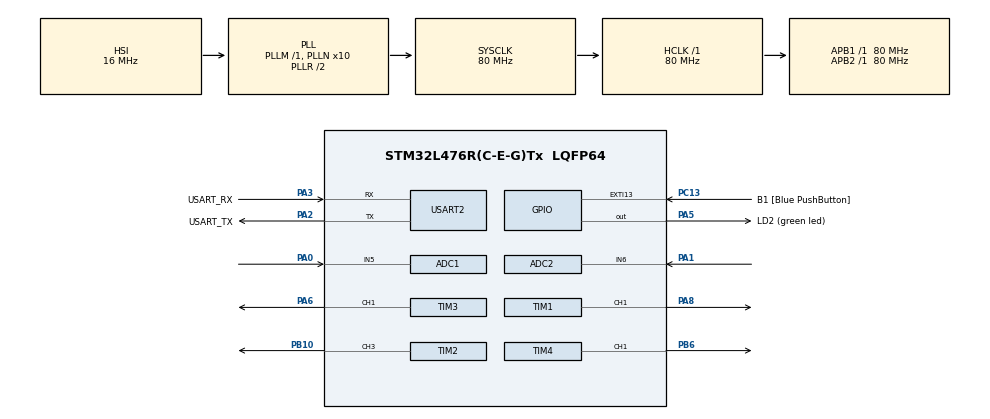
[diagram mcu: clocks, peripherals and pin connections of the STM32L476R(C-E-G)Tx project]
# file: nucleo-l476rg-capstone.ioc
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ADC1.Channel-0\#ChannelRegularConversion=ADC_CHANNEL_5
ADC1.ContinuousConvMode=ENABLE
ADC1.DMAContinuousRequests=ENABLE
ADC1.NbrOfConversionFlag=1
ADC1.OffsetNumber-0\#ChannelRegularConversion=ADC_OFFSET_NONE
ADC1.Rank-0\#ChannelRegularConversion=1
ADC1.SamplingTime-0\#ChannelRegularConversion=ADC_SAMPLETIME_2CYCLES_5
ADC1.master=1
ADC2.Channel-1\#ChannelRegularConversion=ADC_CHANNEL_6
ADC2.ContinuousConvMode=ENABLE
ADC2.DMAContinuousRequests=ENABLE
ADC2.NbrOfConversionFlag=1
ADC2.OffsetNumber-1\#ChannelRegularConversion=ADC_OFFSET_NONE
ADC2.Rank-1\#ChannelRegularConversion=1
ADC2.SamplingTime-1\#ChannelRegularConversion=ADC_SAMPLETIME_2CYCLES_5
DAC1.DAC_Channel-DAC_OUT2_Int=DAC_CHANNEL_2
Dma.ADC1.1.Direction=DMA_PERIPH_TO_MEMORY
Dma.ADC1.1.Instance=DMA1_Channel1
Dma.ADC1.1.MemDataAlignment=DMA_MDATAALIGN_HALFWORD
Dma.ADC1.1.MemInc=DMA_MINC_ENABLE
Dma.ADC1.1.Mode=DMA_CIRCULAR
Dma.ADC1.1.PeriphDataAlignment=DMA_PDATAALIGN_HALFWORD
Dma.ADC1.1.PeriphInc=DMA_PINC_DISABLE
Dma.ADC1.1.Priority=DMA_PRIORITY_LOW
Dma.ADC2.2.Direction=DMA_PERIPH_TO_MEMORY
Dma.ADC2.2.Instance=DMA1_Channel2
Dma.ADC2.2.MemDataAlignment=DMA_MDATAALIGN_HALFWORD
Dma.ADC2.2.MemInc=DMA_MINC_ENABLE
Dma.ADC2.2.Mode=DMA_CIRCULAR
Dma.ADC2.2.PeriphDataAlignment=DMA_PDATAALIGN_HALFWORD
Dma.ADC2.2.PeriphInc=DMA_PINC_DISABLE
Dma.ADC2.2.Priority=DMA_PRIORITY_LOW
Dma.Request0=USART2_RX
Dma.Request1=ADC1
Dma.Request2=ADC2
Dma.USART2_RX.0.Direction=DMA_PERIPH_TO_MEMORY
Dma.USART2_RX.0.Instance=DMA1_Channel6
Dma.USART2_RX.0.MemDataAlignment=DMA_MDATAALIGN_BYTE
Dma.USART2_RX.0.MemInc=DMA_MINC_ENABLE
Dma.USART2_RX.0.Mode=DMA_CIRCULAR
Dma.USART2_RX.0.PeriphDataAlignment=DMA_PDATAALIGN_BYTE
Dma.USART2_RX.0.PeriphInc=DMA_PINC_DISABLE
Dma.USART2_RX.0.Priority=DMA_PRIORITY_LOW
Mcu.Family=STM32L4
Mcu.Name=STM32L476R(C-E-G)Tx
Mcu.Package=LQFP64
NVIC.DMA1_Channel1_IRQn=true\:0\:0\:false\:false\:true\:false\:true
NVIC.DMA1_Channel2_IRQn=true\:0\:0\:false\:false\:true\:false\:true
NVIC.DMA1_Channel6_IRQn=true\:0\:0\:false\:false\:true\:false\:true
NVIC.PriorityGroup=NVIC_PRIORITYGROUP_4
NVIC.USART2_IRQn=true\:0\:0\:false\:false\:true\:true\:true
PA0.Signal=ADCx_IN5
PA1.Signal=ADCx_IN6
PA13\ (JTMS-SWDIO).GPIO_Label=TMS
PA13\ (JTMS-SWDIO).Mode=Serial_Wire
PA13\ (JTMS-SWDIO).Signal=SYS_JTMS-SWDIO
PA14\ (JTCK-SWCLK).GPIO_Label=TCK
PA14\ (JTCK-SWCLK).Mode=Serial_Wire
PA14\ (JTCK-SWCLK).Signal=SYS_JTCK-SWCLK
PA2.GPIO_Label=USART_TX
PA2.GPIO_Mode=GPIO_MODE_AF_PP
PA2.GPIO_PuPd=GPIO_NOPULL
PA2.GPIO_Speed=GPIO_SPEED_FREQ_VERY_HIGH
PA2.Mode=Asynchronous
PA2.Signal=USART2_TX
PA3.GPIO_Label=USART_RX
PA3.GPIO_Mode=GPIO_MODE_AF_PP
PA3.GPIO_PuPd=GPIO_NOPULL
PA3.GPIO_Speed=GPIO_SPEED_FREQ_VERY_HIGH
PA3.Mode=Asynchronous
PA3.Signal=USART2_RX
PA5.GPIO_Label=LD2 (green led)
PA5.Signal=GPIO_Output
PA6.Signal=S_TIM3_CH1
PA8.Signal=S_TIM1_CH1
PB10.Signal=S_TIM2_CH3
PB3\ (JTDO-TRACESWO).GPIO_Label=SWO
PB3\ (JTDO-TRACESWO).Signal=SYS_JTDO-SWO
PB6.Signal=S_TIM4_CH1
PC13.GPIO_Label=B1 [Blue PushButton]
PC13.GPIO_ModeDefaultEXTI=GPIO_MODE_IT_FALLING
PC13.GPIO_PuPd=GPIO_NOPULL
PC13.Signal=GPXTI13
PC14-OSC32_IN\ (PC14).Mode=LSE-External-Oscillator
PC14-OSC32_IN\ (PC14).Signal=RCC_OSC32_IN
PC15-OSC32_OUT\ (PC15).Mode=LSE-External-Oscillator
PC15-OSC32_OUT\ (PC15).Signal=RCC_OSC32_OUT
PH0-OSC_IN\ (PH0).Signal=RCC_OSC_IN
PH1-OSC_OUT\ (PH1).Signal=RCC_OSC_OUT
ProjectManager.HeapSize=0x200
ProjectManager.StackSize=0x400
ProjectManager.TargetToolchain=STM32CubeIDE
RCC.ADCFreq_Value=64000000
RCC.AHBFreq_Value=80000000
RCC.APB1Freq_Value=80000000
RCC.APB1TimFreq_Value=80000000
RCC.APB2Freq_Value=80000000
RCC.APB2TimFreq_Value=80000000
RCC.CortexFreq_Value=80000000
RCC.HCLKFreq_Value=80000000
RCC.HSE_VALUE=8000000
RCC.HSI_VALUE=16000000
RCC.MSI_VALUE=4000000
RCC.PLLN=10
RCC.PLLSourceVirtual=RCC_PLLSOURCE_HSI
RCC.PREFETCH_ENABLE=1
RCC.SYSCLKFreq_VALUE=80000000
RCC.SYSCLKSource=RCC_SYSCLKSOURCE_PLLCLK
RCC.USBFreq_Value=64000000
RCC.VCOOutputFreq_Value=160000000
SH.ADCx_IN5.0=ADC1_IN5,IN5-Single-Ended
SH.ADCx_IN6.0=ADC2_IN6,IN6-Single-Ended
SH.S_TIM1_CH1.0=TIM1_CH1,PWM Generation1 CH1
SH.S_TIM2_CH3.0=TIM2_CH3,PWM Generation3 CH3
SH.S_TIM3_CH1.0=TIM3_CH1,PWM Generation1 CH1
SH.S_TIM4_CH1.0=TIM4_CH1,PWM Generation1 CH1
TIM1.Channel-PWM\ Generation1\ CH1=TIM_CHANNEL_1
TIM2.Channel-PWM\ Generation3\ CH3=TIM_CHANNEL_3
TIM3.Channel-PWM\ Generation1\ CH1=TIM_CHANNEL_1
TIM4.Channel-PWM\ Generation1\ CH1=TIM_CHANNEL_1
USART2.VirtualMode-Asynchronous=VM_ASYNC
VP_DAC1_VS_DACI1.Mode=DAC_OUT1_Int
VP_DAC1_VS_DACI2.Mode=DAC_OUT2_Int
board=NUCLEO-L476RG

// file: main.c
/* USER CODE BEGIN Header */
/**
  ******************************************************************************
  * @file           : main.c
  * @brief          : Main program body
  ******************************************************************************
  * @attention
  *
  * <h2><center>&copy; Copyright (c) 2020 STMicroelectronics.
  * All rights reserved.</center></h2>
  *
  * This software component is licensed by ST under BSD 3-Clause license,
  * the "License"; You may not use this file except in compliance with the
  * License. You may obtain a copy of the License at:
  *                        opensource.org/licenses/BSD-3-Clause
  *
  ******************************************************************************
  */
/* USER CODE END Header */
#include "main.h"

/* USER CODE BEGIN PTD */
typedef enum { false, true } bool; // for flags
/* USER CODE END PTD */

/* USER CODE BEGIN PD */
#define ADC_BUF_LEN 4096
/* USER CODE END PD */

ADC_HandleTypeDef hadc1;
ADC_HandleTypeDef hadc2;
DMA_HandleTypeDef hdma_adc1;
DMA_HandleTypeDef hdma_adc2;

DAC_HandleTypeDef hdac1;

TIM_HandleTypeDef htim1;
TIM_HandleTypeDef htim2;
TIM_HandleTypeDef htim3;
TIM_HandleTypeDef htim4;

UART_HandleTypeDef huart2;
DMA_HandleTypeDef hdma_usart2_rx;

/* USER CODE BEGIN PV */
uint8_t TOGGLE_RUN[1] = "s";
uint8_t ACK[2] = "a\n";

uint16_t adc1_buf[ADC_BUF_LEN];
uint16_t adc2_buf[ADC_BUF_LEN];
/* USER CODE END PV */

void SystemClock_Config(void);
static void MX_GPIO_Init(void);
static void MX_DMA_Init(void);
static void MX_USART2_UART_Init(void);
static void MX_DAC1_Init(void);
static void MX_TIM1_Init(void);
static void MX_TIM2_Init(void);
static void MX_TIM3_Init(void);
static void MX_TIM4_Init(void);
static void MX_ADC1_Init(void);
static void MX_ADC2_Init(void);
/* USER CODE BEGIN PFP */
void awaitStart(void);
void singleAxisTest(void);
void dualAxisTest(void);

/* USER CODE END PFP */

/* USER CODE BEGIN 0 */
// uint8_t myTxData[13] = "begin";
bool doTest = false;
uint32_t numAxes = 0;

/* USER CODE END 0 */

int main(void)
{

  /* MCU Configuration--------------------------------------------------------*/

  /* Reset of all peripherals, Initializes the Flash interface and the Systick. */
  HAL_Init();

  /* Configure the system clock */
  SystemClock_Config();

  /* Initialize all configured peripherals */
  MX_GPIO_Init();
  MX_DMA_Init();
  MX_USART2_UART_Init();
  MX_DAC1_Init();
  MX_TIM1_Init();
  MX_TIM2_Init();
  MX_TIM3_Init();
  MX_TIM4_Init();
  MX_ADC1_Init();
  MX_ADC2_Init();

  /* Infinite loop */
  while (1)
  {
	  if (!doTest)
	  	  {
	  		  awaitStart();
	  	  }
	  	  else
	  	  {
	  		  switch(numAxes) {
	  		  case 1:
	  			  singleAxisTest();
	  			  break;
	  		  case 2:
	  			  // implement write/read logic for 2 axes
	  			  dualAxisTest();
	  			  break;
	  		  default:
	  			  HAL_UART_Transmit(&huart2, "numAxes error\n", 14, 10);
	  			  break;
	  		  }
	  	  }
  }
}

void SystemClock_Config(void)
{
  RCC_OscInitTypeDef RCC_OscInitStruct = {0};
  RCC_ClkInitTypeDef RCC_ClkInitStruct = {0};
  RCC_PeriphCLKInitTypeDef PeriphClkInit = {0};

  /** Initializes the RCC Oscillators according to the specified parameters
  * in the RCC_OscInitTypeDef structure.
  */
  RCC_OscInitStruct.OscillatorType = RCC_OSCILLATORTYPE_HSI;
  RCC_OscInitStruct.HSIState = RCC_HSI_ON;
  RCC_OscInitStruct.HSICalibrationValue = RCC_HSICALIBRATION_DEFAULT;
  RCC_OscInitStruct.PLL.PLLState = RCC_PLL_ON;
  RCC_OscInitStruct.PLL.PLLSource = RCC_PLLSOURCE_HSI;
  RCC_OscInitStruct.PLL.PLLM = 1;
  RCC_OscInitStruct.PLL.PLLN = 10;
  RCC_OscInitStruct.PLL.PLLP = RCC_PLLP_DIV7;
  RCC_OscInitStruct.PLL.PLLQ = RCC_PLLQ_DIV2;
  RCC_OscInitStruct.PLL.PLLR = RCC_PLLR_DIV2;
  if (HAL_RCC_OscConfig(&RCC_OscInitStruct) != HAL_OK)
  {
    Error_Handler();
  }
  /** Initializes the CPU, AHB and APB buses clocks
  */
  RCC_ClkInitStruct.ClockType = RCC_CLOCKTYPE_HCLK|RCC_CLOCKTYPE_SYSCLK
                              |RCC_CLOCKTYPE_PCLK1|RCC_CLOCKTYPE_PCLK2;
  RCC_ClkInitStruct.SYSCLKSource = RCC_SYSCLKSOURCE_PLLCLK;
  RCC_ClkInitStruct.AHBCLKDivider = RCC_SYSCLK_DIV1;
  RCC_ClkInitStruct.APB1CLKDivider = RCC_HCLK_DIV1;
  RCC_ClkInitStruct.APB2CLKDivider = RCC_HCLK_DIV1;

  if (HAL_RCC_ClockConfig(&RCC_ClkInitStruct, FLASH_LATENCY_4) != HAL_OK)
  {
    Error_Handler();
  }
  PeriphClkInit.PeriphClockSelection = RCC_PERIPHCLK_USART2|RCC_PERIPHCLK_ADC;
  PeriphClkInit.Usart2ClockSelection = RCC_USART2CLKSOURCE_PCLK1;
  PeriphClkInit.AdcClockSelection = RCC_ADCCLKSOURCE_PLLSAI1;
  PeriphClkInit.PLLSAI1.PLLSAI1Source = RCC_PLLSOURCE_HSI;
  PeriphClkInit.PLLSAI1.PLLSAI1M = 1;
  PeriphClkInit.PLLSAI1.PLLSAI1N = 8;
  PeriphClkInit.PLLSAI1.PLLSAI1P = RCC_PLLP_DIV7;
  PeriphClkInit.PLLSAI1.PLLSAI1Q = RCC_PLLQ_DIV2;
  PeriphClkInit.PLLSAI1.PLLSAI1R = RCC_PLLR_DIV2;
  PeriphClkInit.PLLSAI1.PLLSAI1ClockOut = RCC_PLLSAI1_ADC1CLK;
  if (HAL_RCCEx_PeriphCLKConfig(&PeriphClkInit) != HAL_OK)
  {
    Error_Handler();
  }
  /** Configure the main internal regulator output voltage
  */
  if (HAL_PWREx_ControlVoltageScaling(PWR_REGULATOR_VOLTAGE_SCALE1) != HAL_OK)
  {
    Error_Handler();
  }
}

static void MX_ADC1_Init(void)
{

  ADC_MultiModeTypeDef multimode = {0};
  ADC_ChannelConfTypeDef sConfig = {0};

  /** Common config
  */
  hadc1.Instance = ADC1;
  hadc1.Init.ClockPrescaler = ADC_CLOCK_ASYNC_DIV1;
  hadc1.Init.Resolution = ADC_RESOLUTION_12B;
  hadc1.Init.DataAlign = ADC_DATAALIGN_RIGHT;
  hadc1.Init.ScanConvMode = ADC_SCAN_DISABLE;
  hadc1.Init.EOCSelection = ADC_EOC_SINGLE_CONV;
  hadc1.Init.LowPowerAutoWait = DISABLE;
  hadc1.Init.ContinuousConvMode = ENABLE;
  hadc1.Init.NbrOfConversion = 1;
  hadc1.Init.DiscontinuousConvMode = DISABLE;
  hadc1.Init.ExternalTrigConv = ADC_SOFTWARE_START;
  hadc1.Init.ExternalTrigConvEdge = ADC_EXTERNALTRIGCONVEDGE_NONE;
  hadc1.Init.DMAContinuousRequests = ENABLE;
  hadc1.Init.Overrun = ADC_OVR_DATA_PRESERVED;
  hadc1.Init.OversamplingMode = DISABLE;
  if (HAL_ADC_Init(&hadc1) != HAL_OK)
  {
    Error_Handler();
  }
  /** Configure the ADC multi-mode
  */
  multimode.Mode = ADC_MODE_INDEPENDENT;
  if (HAL_ADCEx_MultiModeConfigChannel(&hadc1, &multimode) != HAL_OK)
  {
    Error_Handler();
  }
  /** Configure Regular Channel
  */
  sConfig.Channel = ADC_CHANNEL_5;
  sConfig.Rank = ADC_REGULAR_RANK_1;
  sConfig.SamplingTime = ADC_SAMPLETIME_2CYCLES_5;
  sConfig.SingleDiff = ADC_SINGLE_ENDED;
  sConfig.OffsetNumber = ADC_OFFSET_NONE;
  sConfig.Offset = 0;
  if (HAL_ADC_ConfigChannel(&hadc1, &sConfig) != HAL_OK)
  {
    Error_Handler();
  }

}

static void MX_ADC2_Init(void)
{

  ADC_ChannelConfTypeDef sConfig = {0};

  /** Common config
  */
  hadc2.Instance = ADC2;
  hadc2.Init.ClockPrescaler = ADC_CLOCK_ASYNC_DIV1;
  hadc2.Init.Resolution = ADC_RESOLUTION_12B;
  hadc2.Init.DataAlign = ADC_DATAALIGN_RIGHT;
  hadc2.Init.ScanConvMode = ADC_SCAN_DISABLE;
  hadc2.Init.EOCSelection = ADC_EOC_SINGLE_CONV;
  hadc2.Init.LowPowerAutoWait = DISABLE;
  hadc2.Init.ContinuousConvMode = ENABLE;
  hadc2.Init.NbrOfConversion = 1;
  hadc2.Init.DiscontinuousConvMode = DISABLE;
  hadc2.Init.ExternalTrigConv = ADC_SOFTWARE_START;
  hadc2.Init.ExternalTrigConvEdge = ADC_EXTERNALTRIGCONVEDGE_NONE;
  hadc2.Init.DMAContinuousRequests = ENABLE;
  hadc2.Init.Overrun = ADC_OVR_DATA_PRESERVED;
  hadc2.Init.OversamplingMode = DISABLE;
  if (HAL_ADC_Init(&hadc2) != HAL_OK)
  {
    Error_Handler();
  }
  /** Configure Regular Channel
  */
  sConfig.Channel = ADC_CHANNEL_6;
  sConfig.Rank = ADC_REGULAR_RANK_1;
  sConfig.SamplingTime = ADC_SAMPLETIME_2CYCLES_5;
  sConfig.SingleDiff = ADC_SINGLE_ENDED;
  sConfig.OffsetNumber = ADC_OFFSET_NONE;
  sConfig.Offset = 0;
  if (HAL_ADC_ConfigChannel(&hadc2, &sConfig) != HAL_OK)
  {
    Error_Handler();
  }

}

static void MX_DAC1_Init(void)
{

  DAC_ChannelConfTypeDef sConfig = {0};

  /** DAC Initialization
  */
  hdac1.Instance = DAC1;
  if (HAL_DAC_Init(&hdac1) != HAL_OK)
  {
    Error_Handler();
  }
  /** DAC channel OUT1 config
  */
  sConfig.DAC_SampleAndHold = DAC_SAMPLEANDHOLD_DISABLE;
  sConfig.DAC_Trigger = DAC_TRIGGER_NONE;
  sConfig.DAC_OutputBuffer = DAC_OUTPUTBUFFER_DISABLE;
  sConfig.DAC_ConnectOnChipPeripheral = DAC_CHIPCONNECT_ENABLE;
  sConfig.DAC_UserTrimming = DAC_TRIMMING_FACTORY;
  if (HAL_DAC_ConfigChannel(&hdac1, &sConfig, DAC_CHANNEL_1) != HAL_OK)
  {
    Error_Handler();
  }
  /** DAC channel OUT2 config
  */
  sConfig.DAC_ConnectOnChipPeripheral = DAC_CHIPCONNECT_ENABLE;
  if (HAL_DAC_ConfigChannel(&hdac1, &sConfig, DAC_CHANNEL_2) != HAL_OK)
  {
    Error_Handler();
  }

}

static void MX_TIM1_Init(void)
{

  TIM_MasterConfigTypeDef sMasterConfig = {0};
  TIM_OC_InitTypeDef sConfigOC = {0};
  TIM_BreakDeadTimeConfigTypeDef sBreakDeadTimeConfig = {0};

  htim1.Instance = TIM1;
  htim1.Init.Prescaler = 0;
  htim1.Init.CounterMode = TIM_COUNTERMODE_UP;
  htim1.Init.Period = 65535;
  htim1.Init.ClockDivision = TIM_CLOCKDIVISION_DIV1;
  htim1.Init.RepetitionCounter = 0;
  htim1.Init.AutoReloadPreload = TIM_AUTORELOAD_PRELOAD_DISABLE;
  if (HAL_TIM_PWM_Init(&htim1) != HAL_OK)
  {
    Error_Handler();
  }
  sMasterConfig.MasterOutputTrigger = TIM_TRGO_RESET;
  sMasterConfig.MasterOutputTrigger2 = TIM_TRGO2_RESET;
  sMasterConfig.MasterSlaveMode = TIM_MASTERSLAVEMODE_DISABLE;
  if (HAL_TIMEx_MasterConfigSynchronization(&htim1, &sMasterConfig) != HAL_OK)
  {
    Error_Handler();
  }
  sConfigOC.OCMode = TIM_OCMODE_PWM1;
  sConfigOC.Pulse = 0;
  sConfigOC.OCPolarity = TIM_OCPOLARITY_HIGH;
  sConfigOC.OCNPolarity = TIM_OCNPOLARITY_HIGH;
  sConfigOC.OCFastMode = TIM_OCFAST_DISABLE;
  sConfigOC.OCIdleState = TIM_OCIDLESTATE_RESET;
  sConfigOC.OCNIdleState = TIM_OCNIDLESTATE_RESET;
  if (HAL_TIM_PWM_ConfigChannel(&htim1, &sConfigOC, TIM_CHANNEL_1) != HAL_OK)
  {
    Error_Handler();
  }
  sBreakDeadTimeConfig.OffStateRunMode = TIM_OSSR_DISABLE;
  sBreakDeadTimeConfig.OffStateIDLEMode = TIM_OSSI_DISABLE;
  sBreakDeadTimeConfig.LockLevel = TIM_LOCKLEVEL_OFF;
  sBreakDeadTimeConfig.DeadTime = 0;
  sBreakDeadTimeConfig.BreakState = TIM_BREAK_DISABLE;
  sBreakDeadTimeConfig.BreakPolarity = TIM_BREAKPOLARITY_HIGH;
  sBreakDeadTimeConfig.BreakFilter = 0;
  sBreakDeadTimeConfig.Break2State = TIM_BREAK2_DISABLE;
  sBreakDeadTimeConfig.Break2Polarity = TIM_BREAK2POLARITY_HIGH;
  sBreakDeadTimeConfig.Break2Filter = 0;
  sBreakDeadTimeConfig.AutomaticOutput = TIM_AUTOMATICOUTPUT_DISABLE;
  if (HAL_TIMEx_ConfigBreakDeadTime(&htim1, &sBreakDeadTimeConfig) != HAL_OK)
  {
    Error_Handler();
  }
  HAL_TIM_MspPostInit(&htim1);

}

static void MX_TIM2_Init(void)
{

  TIM_MasterConfigTypeDef sMasterConfig = {0};
  TIM_OC_InitTypeDef sConfigOC = {0};

  htim2.Instance = TIM2;
  htim2.Init.Prescaler = 0;
  htim2.Init.CounterMode = TIM_COUNTERMODE_UP;
  htim2.Init.Period = 4294967295;
  htim2.Init.ClockDivision = TIM_CLOCKDIVISION_DIV1;
  htim2.Init.AutoReloadPreload = TIM_AUTORELOAD_PRELOAD_DISABLE;
  if (HAL_TIM_PWM_Init(&htim2) != HAL_OK)
  {
    Error_Handler();
  }
  sMasterConfig.MasterOutputTrigger = TIM_TRGO_RESET;
  sMasterConfig.MasterSlaveMode = TIM_MASTERSLAVEMODE_DISABLE;
  if (HAL_TIMEx_MasterConfigSynchronization(&htim2, &sMasterConfig) != HAL_OK)
  {
    Error_Handler();
  }
  sConfigOC.OCMode = TIM_OCMODE_PWM1;
  sConfigOC.Pulse = 0;
  sConfigOC.OCPolarity = TIM_OCPOLARITY_HIGH;
  sConfigOC.OCFastMode = TIM_OCFAST_DISABLE;
  if (HAL_TIM_PWM_ConfigChannel(&htim2, &sConfigOC, TIM_CHANNEL_3) != HAL_OK)
  {
    Error_Handler();
  }
  HAL_TIM_MspPostInit(&htim2);

}

static void MX_TIM3_Init(void)
{

  TIM_MasterConfigTypeDef sMasterConfig = {0};
  TIM_OC_InitTypeDef sConfigOC = {0};

  htim3.Instance = TIM3;
  htim3.Init.Prescaler = 0;
  htim3.Init.CounterMode = TIM_COUNTERMODE_UP;
  htim3.Init.Period = 65535;
  htim3.Init.ClockDivision = TIM_CLOCKDIVISION_DIV1;
  htim3.Init.AutoReloadPreload = TIM_AUTORELOAD_PRELOAD_DISABLE;
  if (HAL_TIM_PWM_Init(&htim3) != HAL_OK)
  {
    Error_Handler();
  }
  sMasterConfig.MasterOutputTrigger = TIM_TRGO_RESET;
  sMasterConfig.MasterSlaveMode = TIM_MASTERSLAVEMODE_DISABLE;
  if (HAL_TIMEx_MasterConfigSynchronization(&htim3, &sMasterConfig) != HAL_OK)
  {
    Error_Handler();
  }
  sConfigOC.OCMode = TIM_OCMODE_PWM1;
  sConfigOC.Pulse = 0;
  sConfigOC.OCPolarity = TIM_OCPOLARITY_HIGH;
  sConfigOC.OCFastMode = TIM_OCFAST_DISABLE;
  if (HAL_TIM_PWM_ConfigChannel(&htim3, &sConfigOC, TIM_CHANNEL_1) != HAL_OK)
  {
    Error_Handler();
  }
  HAL_TIM_MspPostInit(&htim3);

}

static void MX_TIM4_Init(void)
{

  TIM_MasterConfigTypeDef sMasterConfig = {0};
  TIM_OC_InitTypeDef sConfigOC = {0};

  htim4.Instance = TIM4;
  htim4.Init.Prescaler = 0;
  htim4.Init.CounterMode = TIM_COUNTERMODE_UP;
  htim4.Init.Period = 65535;
  htim4.Init.ClockDivision = TIM_CLOCKDIVISION_DIV1;
  htim4.Init.AutoReloadPreload = TIM_AUTORELOAD_PRELOAD_DISABLE;
  if (HAL_TIM_PWM_Init(&htim4) != HAL_OK)
  {
    Error_Handler();
  }
  sMasterConfig.MasterOutputTrigger = TIM_TRGO_RESET;
  sMasterConfig.MasterSlaveMode = TIM_MASTERSLAVEMODE_DISABLE;
  if (HAL_TIMEx_MasterConfigSynchronization(&htim4, &sMasterConfig) != HAL_OK)
  {
    Error_Handler();
  }
  sConfigOC.OCMode = TIM_OCMODE_PWM1;
  sConfigOC.Pulse = 0;
  sConfigOC.OCPolarity = TIM_OCPOLARITY_HIGH;
  sConfigOC.OCFastMode = TIM_OCFAST_DISABLE;
  if (HAL_TIM_PWM_ConfigChannel(&htim4, &sConfigOC, TIM_CHANNEL_1) != HAL_OK)
  {
    Error_Handler();
  }
  HAL_TIM_MspPostInit(&htim4);

}

static void MX_USART2_UART_Init(void)
{

  huart2.Instance = USART2;
  huart2.Init.BaudRate = 115200;
  huart2.Init.WordLength = UART_WORDLENGTH_8B;
  huart2.Init.StopBits = UART_STOPBITS_1;
  huart2.Init.Parity = UART_PARITY_NONE;
  huart2.Init.Mode = UART_MODE_TX_RX;
  huart2.Init.HwFlowCtl = UART_HWCONTROL_NONE;
  huart2.Init.OverSampling = UART_OVERSAMPLING_16;
  huart2.Init.OneBitSampling = UART_ONE_BIT_SAMPLE_DISABLE;
  huart2.AdvancedInit.AdvFeatureInit = UART_ADVFEATURE_NO_INIT;
  if (HAL_UART_Init(&huart2) != HAL_OK)
  {
    Error_Handler();
  }

}

static void MX_DMA_Init(void)
{

  /* DMA controller clock enable */
  __HAL_RCC_DMA1_CLK_ENABLE();

  /* DMA interrupt init */
  /* DMA1_Channel1_IRQn interrupt configuration */
  HAL_NVIC_SetPriority(DMA1_Channel1_IRQn, 0, 0);
  HAL_NVIC_EnableIRQ(DMA1_Channel1_IRQn);
  /* DMA1_Channel2_IRQn interrupt configuration */
  HAL_NVIC_SetPriority(DMA1_Channel2_IRQn, 0, 0);
  HAL_NVIC_EnableIRQ(DMA1_Channel2_IRQn);
  /* DMA1_Channel6_IRQn interrupt configuration */
  HAL_NVIC_SetPriority(DMA1_Channel6_IRQn, 0, 0);
  HAL_NVIC_EnableIRQ(DMA1_Channel6_IRQn);

}

static void MX_GPIO_Init(void)
{
  GPIO_InitTypeDef GPIO_InitStruct = {0};

  /* GPIO Ports Clock Enable */
  __HAL_RCC_GPIOC_CLK_ENABLE();
  __HAL_RCC_GPIOH_CLK_ENABLE();
  __HAL_RCC_GPIOA_CLK_ENABLE();
  __HAL_RCC_GPIOB_CLK_ENABLE();

  /*Configure GPIO pin Output Level */
  HAL_GPIO_WritePin(LD2_GPIO_Port, LD2_Pin, GPIO_PIN_RESET);

  /*Configure GPIO pin : B1_Pin */
  GPIO_InitStruct.Pin = B1_Pin;
  GPIO_InitStruct.Mode = GPIO_MODE_IT_FALLING;
  GPIO_InitStruct.Pull = GPIO_NOPULL;
  HAL_GPIO_Init(B1_GPIO_Port, &GPIO_InitStruct);

  /*Configure GPIO pin : LD2_Pin */
  GPIO_InitStruct.Pin = LD2_Pin;
  GPIO_InitStruct.Mode = GPIO_MODE_OUTPUT_PP;
  GPIO_InitStruct.Pull = GPIO_NOPULL;
  GPIO_InitStruct.Speed = GPIO_SPEED_FREQ_LOW;
  HAL_GPIO_Init(LD2_GPIO_Port, &GPIO_InitStruct);

}

/* USER CODE BEGIN 4 */
void awaitStart(void)
{
	uint8_t rxData[2]; // expect to receive
	do
	{
		HAL_UART_Receive_DMA(&huart2, rxData, 2);
		numAxes = rxData[1]; // should be either 1 or 2
	} while(rxData[0] != 's');

	HAL_GPIO_TogglePin(GPIOA, GPIO_PIN_5);
	doTest = true; // allow for test routine to begin
	HAL_UART_Transmit(&huart2, ACK, 2, 10); // send ack
}

void singleAxisTest(void)
{
	// start ADC
	HAL_ADC_START_DMA(&hadc1, (uint32_t*)adc_buf, ADC_BUF_LEN);
}

void dualAxisTest(void)
{
	// start ADCs
	HAL_ADC_START_DMA(&hadc1, (uint32_t*)adc1_buf, ADC_BUF_LEN);
	HAL_ADC_START_DMA(&hadc2, (uint32_t*)adc2_buf, ADC_BUF_LEN);
}

/* USER CODE END 4 */

void Error_Handler(void)
{
}

/************************ (C) COPYRIGHT STMicroelectronics *****END OF FILE****/
